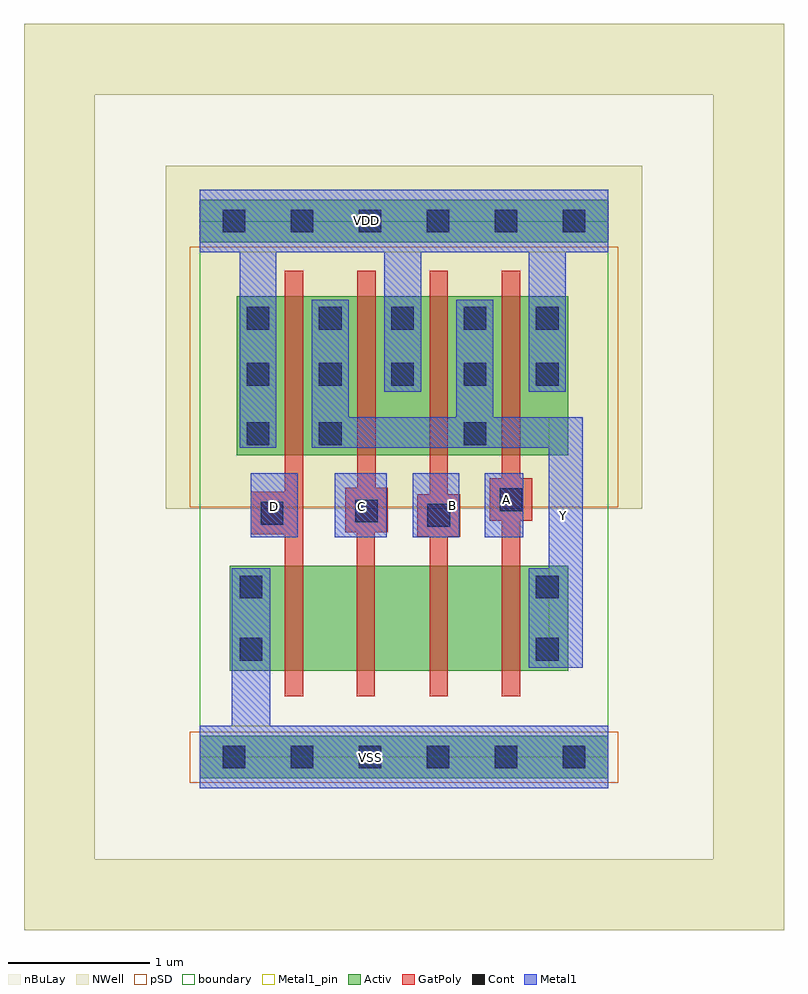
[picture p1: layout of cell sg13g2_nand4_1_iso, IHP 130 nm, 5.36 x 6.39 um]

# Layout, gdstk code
import gdstk
lib = gdstk.Library(unit=1e-6, precision=1e-09)
def R(c, l, rs):  # rectangles x0, y0, x1, y1
    for r in rs: c.add(gdstk.rectangle(r[:2], r[2:], *l))
def A(c, l, x, y, w, h, nx, ny, dx, dy):  # array of equal rectangles
    R(c, l, [(x+i*dx, y+j*dy, x+i*dx+w, y+j*dy+h) for i in range(nx) for j in range(ny)])
def P(c, l, *ps):  # polygons
    for p in ps: c.add(gdstk.Polygon(p, *l))
Activ = (1, 0)
GatPoly = (5, 0)
Cont = (6, 0)
Metal1 = (8, 0)
Metal1_pin = (8, 2)
pSD = (14, 0)
NWell = (31, 0)
nBuLay = (32, 0)
boundary = (189, 4)

sg13g2_nand4_1_iso = lib.new_cell('sg13g2_nand4_1_iso')
R(sg13g2_nand4_1_iso, Activ, [(0,-0.15,2.88,0.15), (0.21,0.61,2.6,1.35), (0.26,2.13,2.6,3.25), (0,3.63,2.88,3.93)])
P(sg13g2_nand4_1_iso, GatPoly, [(1.835,1.855),(1.75,1.855),(1.75,3.43),(1.62,3.43),(1.62,1.855),(1.535,1.855),(1.535,1.555),(1.62,1.555),(1.62,0.43),(1.75,0.43),(1.75,1.555),(1.835,1.555)],
  [(2.345,1.965),(2.26,1.965),(2.26,3.43),(2.13,3.43),(2.13,1.965),(2.045,1.965),(2.045,1.665),(2.13,1.665),(2.13,0.43),(2.26,0.43),(2.26,1.665),(2.345,1.665)],
  [(1.325,1.9),(1.24,1.9),(1.24,3.43),(1.11,3.43),(1.11,1.9),(1.025,1.9),(1.025,1.585),(1.105,1.585),(1.105,0.43),(1.235,0.43),(1.235,1.585),(1.325,1.585)],
  [(0.73,3.43),(0.6,3.43),(0.6,1.87),(0.36,1.87),(0.36,1.57),(0.6,1.57),(0.6,0.43),(0.73,0.43)])
A(sg13g2_nand4_1_iso, Cont, 0.16, -0.08, 0.16, 0.16, 6, 2, 0.48, 3.78)
A(sg13g2_nand4_1_iso, Cont, 0.33, 2.62, 0.16, 0.16, 5, 2, 0.51, 0.395)
R(sg13g2_nand4_1_iso, Cont, [(0.28,0.68,0.44,0.84), (2.37,0.68,2.53,0.84), (0.28,1.12,0.44,1.28), (2.37,1.12,2.53,1.28), (1.605,1.625,1.765,1.785), (0.43,1.64,0.59,1.8), (1.095,1.655,1.255,1.815), (2.115,1.735,2.275,1.895), (0.33,2.2,0.49,2.36), (0.84,2.2,1,2.36), (1.86,2.2,2.02,2.36)])
R(sg13g2_nand4_1_iso, Metal1, [(0.36,1.55,0.69,2), (0.95,1.55,1.32,2), (1.5,1.55,1.83,2), (2.01,1.55,2.28,2)])
P(sg13g2_nand4_1_iso, Metal1, [(2.88,0.22),(0.495,0.22),(0.495,1.33),(0.225,1.33),(0.225,0.22),(0,0.22),(0,-0.22),(2.88,-0.22)],
  [(2.7,2.395),(2.07,2.395),(2.07,3.225),(1.81,3.225),(1.81,2.395),(1.05,2.395),(1.05,3.225),(0.79,3.225),(0.79,2.18),(2.46,2.18),(2.46,1.33),(2.32,1.33),(2.32,0.63),(2.7,0.63)],
  [(2.88,4),(0,4),(0,3.56),(0.28,3.56),(0.28,2.18),(0.54,2.18),(0.54,3.56),(1.3,3.56),(1.3,2.575),(1.56,2.575),(1.56,3.56),(2.32,3.56),(2.32,2.575),(2.58,2.575),(2.58,3.56),(2.88,3.56)])
R(sg13g2_nand4_1_iso, Metal1_pin, [(0,-0.22,2.88,0.22), (2.46,0.63,2.7,2.395), (0.36,1.55,0.69,2), (0.95,1.55,1.32,2), (1.5,1.55,1.83,2), (2.01,1.55,2.28,2), (0,3.56,2.88,4)])
R(sg13g2_nand4_1_iso, pSD, [(-0.07,-0.18,2.95,0.18), (-0.07,1.76,2.95,3.6)])
R(sg13g2_nand4_1_iso, NWell, [(-1.24,-1.22,4.12,-0.72), (-1.24,-0.72,-0.74,4.67), (3.62,-0.72,4.12,4.67), (-0.24,1.75,3.12,4.17), (-1.24,4.67,4.12,5.17)])
P(sg13g2_nand4_1_iso, nBuLay, [(4.12,5.17),(-1.24,5.17),(-1.24,3.63),(0,3.63),(0,3.93),(2.88,3.93),(2.88,3.63),(0,3.63),(-1.24,3.63),(-1.24,-1.22),(4.12,-1.22)])
R(sg13g2_nand4_1_iso, boundary, [(0,0,2.88,3.78)])
sg13g2_nand4_1_iso.add(gdstk.Label('VDD', (1.175,3.785), layer=8, texttype=25))
sg13g2_nand4_1_iso.add(gdstk.Label('Y', (2.565,1.7), layer=8, texttype=25))
sg13g2_nand4_1_iso.add(gdstk.Label('B', (1.785,1.775), layer=8, texttype=25))
sg13g2_nand4_1_iso.add(gdstk.Label('C', (1.14,1.77), layer=8, texttype=25))
sg13g2_nand4_1_iso.add(gdstk.Label('VSS', (1.205,0), layer=8, texttype=25))
sg13g2_nand4_1_iso.add(gdstk.Label('A', (2.165,1.815), layer=8, texttype=25))
sg13g2_nand4_1_iso.add(gdstk.Label('D', (0.525,1.77), layer=8, texttype=25))

lib.write_gds('sg13g2_nand4_1_iso.gds')
